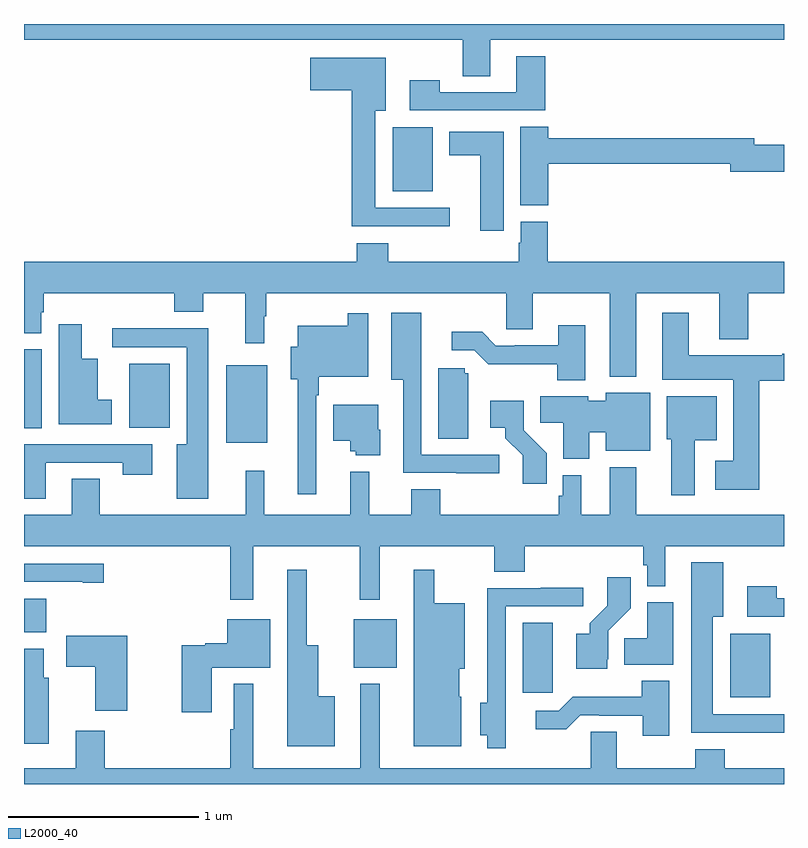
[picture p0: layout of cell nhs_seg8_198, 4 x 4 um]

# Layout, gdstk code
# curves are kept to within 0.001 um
import gdstk
lib = gdstk.Library(unit=1e-6, precision=1e-09)
def R(c, l, rs):  # rectangles x0, y0, x1, y1
    for r in rs: c.add(gdstk.rectangle(r[:2], r[2:], *l))
def P(c, l, *ps):  # polygons
    for p in ps: c.add(gdstk.Polygon(p, *l))
L2000_40 = (2000, 40)

nhs_seg8_198 = lib.new_cell('nhs_seg8_198')
R(nhs_seg8_198, L2000_40, [(126.716,1130.357,126.928,1130.692), (125.624,1130.379,125.782,1130.75), (124.736,1130.513,124.963,1130.767), (123,1130.7,123.118,1130.875), (124.064,1131.695,124.279,1132.105), (123,1131.772,123.094,1132.188), (123.554,1131.776,123.766,1132.111), (124.94,1133.021,125.152,1133.356)])
P(nhs_seg8_198, L2000_40, [(125.455,1133.816),(127,1133.816),(127,1133.9),(123,1133.9),(123,1133.816),(125.308,1133.816),(125.308,1133.626),(125.455,1133.626)],
  [(125.744,1133.731),(125.591,1133.731),(125.591,1133.541),(125.187,1133.541),(125.187,1133.605),(125.031,1133.605),(125.031,1133.445),(125.744,1133.445)],
  [(125.242,1132.932),(124.849,1132.932),(124.849,1133.444),(124.903,1133.444),(124.903,1133.722),(124.506,1133.722),(124.506,1133.552),(124.724,1133.552),(124.724,1132.835),(125.242,1132.835)],
  [(125.759,1133.164),(126.716,1133.164),(126.716,1133.122),(127,1133.122),(127,1133.264),(126.844,1133.264),(126.844,1133.3),(125.759,1133.3),(125.759,1133.36),(125.612,1133.36),(125.612,1132.945),(125.759,1132.945)],
  [(125.524,1133.332),(125.237,1133.332),(125.237,1133.21),(125.402,1133.21),(125.402,1132.812),(125.524,1132.812)],
  [(126.223,1132.484),(126.659,1132.484),(126.659,1132.241),(126.812,1132.241),(126.812,1132.484),(127,1132.484),(127,1132.648),(125.756,1132.648),(125.756,1132.86),(125.615,1132.86),(125.615,1132.749),(125.603,1132.749),(125.603,1132.648),(124.916,1132.648),(124.916,1132.747),(124.751,1132.747),(124.751,1132.648),(123,1132.648),(123,1132.273),(123.091,1132.273),(123.091,1132.383),(123.104,1132.383),(123.104,1132.484),(123.791,1132.484),(123.791,1132.385),(123.943,1132.385),(123.943,1132.484),(124.165,1132.484),(124.165,1132.221),(124.264,1132.221),(124.264,1132.361),(124.276,1132.361),(124.276,1132.484),(125.538,1132.484),(125.538,1132.294),(125.677,1132.294),(125.677,1132.484),(126.083,1132.484),(126.083,1132.043),(126.223,1132.043)],
  [(126.869,1132.022),(127,1132.022),(127,1132.164),(126.992,1132.164),(126.992,1132.156),(126.499,1132.156),(126.499,1132.381),(126.359,1132.381),(126.359,1132.028),(126.734,1132.028),(126.734,1131.601),(126.639,1131.601),(126.639,1131.449),(126.869,1131.449)],
  [(125.5,1131.633),(125.091,1131.633),(125.091,1132.132),(125.092,1132.132),(125.092,1132.381),(124.934,1132.381),(124.934,1132.028),(124.995,1132.028),(124.995,1131.537),(125.275,1131.537),(125.275,1131.535),(125.5,1131.535)],
  [(124.539,1131.947),(124.552,1131.947),(124.552,1132.043),(124.812,1132.043),(124.812,1132.378),(124.704,1132.378),(124.704,1132.312),(124.442,1132.312),(124.442,1132.201),(124.403,1132.201),(124.403,1132.031),(124.442,1132.031),(124.442,1131.426),(124.539,1131.426)],
  [(123.463,1131.922),(123.388,1131.922),(123.388,1132.138),(123.304,1132.138),(123.304,1132.321),(123.182,1132.321),(123.182,1131.794),(123.463,1131.794)],
  [(125.953,1132.315),(125.813,1132.315),(125.813,1132.209),(125.584,1132.209),(125.584,1132.206),(125.484,1132.206),(125.411,1132.279),(125.25,1132.279),(125.25,1132.182),(125.37,1132.182),(125.443,1132.109),(125.806,1132.11),(125.806,1132.025),(125.953,1132.025)],
  [(123.97,1132.298),(123.465,1132.298),(123.465,1132.2),(123.857,1132.2),(123.857,1131.688),(123.803,1131.688),(123.803,1131.402),(123.97,1131.402)],
  [(125.338,1132.062),(125.319,1132.062),(125.319,1132.089),(125.18,1132.089),(125.18,1131.718),(125.338,1131.718)],
  [(125.974,1131.751),(126.062,1131.751),(126.062,1131.653),(126.295,1131.653),(126.295,1131.958),(126.062,1131.958),(126.062,1131.916),(125.97,1131.916),(125.97,1131.94),(125.716,1131.94),(125.716,1131.802),(125.837,1131.802),(125.837,1131.611),(125.974,1131.611)],
  [(126.529,1131.71),(126.646,1131.71),(126.646,1131.94),(126.383,1131.94),(126.383,1131.714),(126.407,1131.714),(126.407,1131.42),(126.529,1131.42)],
  [(125.75,1131.642),(125.631,1131.761),(125.631,1131.916),(125.454,1131.916),(125.454,1131.776),(125.534,1131.776),(125.534,1131.721),(125.625,1131.631),(125.625,1131.48),(125.75,1131.48)],
  [(124.876,1131.765),(124.864,1131.765),(124.864,1131.895),(124.628,1131.895),(124.628,1131.707),(124.718,1131.707),(124.718,1131.651),(124.746,1131.651),(124.746,1131.629),(124.876,1131.629)],
  [(123.115,1131.591),(123.52,1131.591),(123.52,1131.528),(123.676,1131.528),(123.676,1131.687),(123,1131.687),(123,1131.402),(123.115,1131.402)],
  [(124.207,1131.152),(124.767,1131.152),(124.767,1130.871),(124.873,1130.871),(124.873,1131.152),(125.476,1131.152),(125.476,1131.016),(125.636,1131.016),(125.636,1131.152),(126.259,1131.152),(126.259,1131.051),(126.279,1131.051),(126.279,1130.942),(126.376,1130.942),(126.376,1131.152),(127,1131.152),(127,1131.316),(126.223,1131.316),(126.223,1131.568),(126.083,1131.568),(126.083,1131.316),(125.932,1131.316),(125.932,1131.526),(125.835,1131.526),(125.835,1131.417),(125.815,1131.417),(125.815,1131.316),(125.192,1131.316),(125.192,1131.452),(125.039,1131.452),(125.039,1131.316),(124.817,1131.316),(124.817,1131.544),(124.718,1131.544),(124.718,1131.316),(124.265,1131.316),(124.265,1131.55),(124.166,1131.55),(124.166,1131.316),(123.399,1131.316),(123.399,1131.506),(123.251,1131.506),(123.251,1131.316),(123,1131.316),(123,1131.152),(124.086,1131.152),(124.086,1130.871),(124.207,1130.871)],
  [(127,1130.268),(126.625,1130.268),(126.625,1130.78),(126.679,1130.78),(126.679,1131.067),(126.512,1131.067),(126.512,1130.171),(127,1130.171)],
  [(123.421,1131.06),(123,1131.06),(123,1130.964),(123.308,1130.964),(123.308,1130.959),(123.421,1130.959)],
  [(124.636,1130.362),(124.549,1130.362),(124.549,1130.629),(124.489,1130.629),(124.489,1131.028),(124.385,1131.028),(124.385,1130.099),(124.636,1130.099)],
  [(125.302,1130.358),(125.29,1130.358),(125.29,1130.507),(125.32,1130.507),(125.32,1130.851),(125.158,1130.851),(125.158,1131.028),(125.051,1131.028),(125.051,1130.099),(125.302,1130.099)],
  [(126.07,1130.556),(126.075,1130.556),(126.075,1130.707),(126.194,1130.826),(126.194,1130.989),(126.069,1130.989),(126.069,1130.837),(125.978,1130.747),(125.978,1130.692),(125.906,1130.692),(125.906,1130.507),(126.07,1130.507)],
  [(127,1130.877),(126.963,1130.877),(126.963,1130.941),(126.807,1130.941),(126.807,1130.781),(127,1130.781)],
  [(125.536,1130.31),(125.535,1130.31),(125.535,1130.835),(125.944,1130.835),(125.944,1130.934),(125.719,1130.934),(125.719,1130.931),(125.439,1130.931),(125.439,1130.327),(125.402,1130.327),(125.402,1130.156),(125.438,1130.156),(125.438,1130.088),(125.536,1130.088)],
  [(126.418,1130.857),(126.281,1130.857),(126.281,1130.666),(126.16,1130.666),(126.16,1130.528),(126.418,1130.528)],
  [(123.988,1130.513),(124.297,1130.513),(124.297,1130.767),(124.07,1130.767),(124.07,1130.642),(123.954,1130.642),(123.954,1130.629),(123.83,1130.629),(123.83,1130.277),(123.988,1130.277)],
  [(123.544,1130.68),(123.222,1130.68),(123.222,1130.518),(123.374,1130.518),(123.374,1130.285),(123.544,1130.285)],
  [(123.13,1130.46),(123.103,1130.46),(123.103,1130.611),(123,1130.611),(123,1130.112),(123.13,1130.112)],
  [(126.397,1130.443),(126.25,1130.443),(126.25,1130.359),(125.887,1130.359),(125.814,1130.286),(125.694,1130.286),(125.694,1130.189),(125.855,1130.189),(125.928,1130.262),(126.028,1130.262),(126.028,1130.259),(126.257,1130.259),(126.257,1130.154),(126.397,1130.154)],
  [(127,1129.984),(126.687,1129.984),(126.687,1130.083),(126.532,1130.083),(126.532,1129.984),(126.121,1129.984),(126.121,1130.174),(125.982,1130.174),(125.982,1129.984),(124.873,1129.984),(124.873,1130.428),(124.769,1130.428),(124.769,1129.984),(124.207,1129.984),(124.207,1130.428),(124.103,1130.428),(124.103,1130.189),(124.086,1130.189),(124.086,1129.984),(123.425,1129.984),(123.425,1130.179),(123.272,1130.179),(123.272,1129.984),(123,1129.984),(123,1129.9),(127,1129.9)])

lib.write_gds('nhs_seg8_198.gds')
